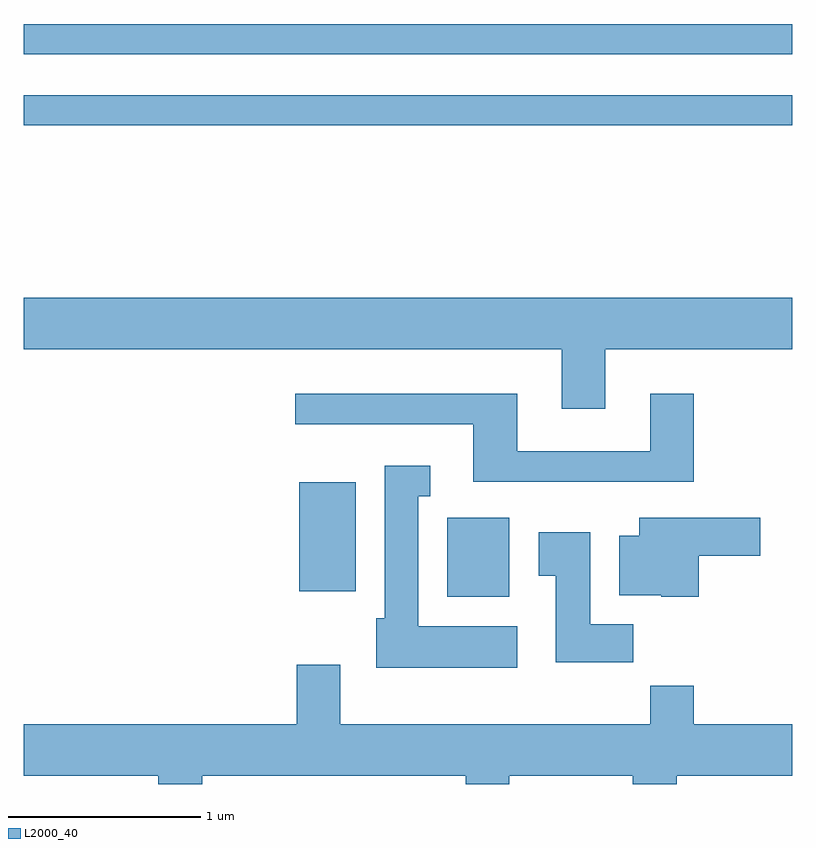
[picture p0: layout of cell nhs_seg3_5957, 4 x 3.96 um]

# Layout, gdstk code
import gdstk
lib = gdstk.Library(unit=1e-6, precision=1e-09)
def R(c, l, rs):  # rectangles x0, y0, x1, y1
    for r in rs: c.add(gdstk.rectangle(r[:2], r[2:], *l))
def P(c, l, *ps):  # polygons
    for p in ps: c.add(gdstk.Polygon(p, *l))
L2000_40 = (2000, 40)

nhs_seg3_5957 = lib.new_cell('nhs_seg3_5957')
R(nhs_seg3_5957, L2000_40, [(361.816,1206.866,362.139,1207.279), (361.046,1206.896,361.339,1207.464), (359.611,1209.321,363.611,1209.479), (359.611,1209.691,363.611,1209.849)])
P(nhs_seg3_5957, L2000_40, [(362.639,1208.156),(363.611,1208.156),(363.611,1208.424),(359.611,1208.424),(359.611,1208.156),(362.411,1208.156),(362.411,1207.846),(362.639,1207.846)],
  [(363.099,1207.924),(362.871,1207.924),(362.871,1207.624),(362.179,1207.624),(362.179,1207.924),(361.023,1207.924),(361.023,1207.766),(361.951,1207.766),(361.951,1207.466),(363.099,1207.466)],
  [(362.179,1206.714),(361.664,1206.714),(361.664,1207.391),(361.728,1207.391),(361.728,1207.549),(361.491,1207.549),(361.491,1206.754),(361.446,1206.754),(361.446,1206.496),(362.179,1206.496)],
  [(363.124,1207.081),(363.444,1207.081),(363.444,1207.279),(362.816,1207.279),(362.816,1207.184),(362.711,1207.184),(362.711,1206.876),(362.93,1206.876),(362.93,1206.866),(363.124,1206.866)],
  [(362.784,1206.724),(362.559,1206.724),(362.559,1207.204),(362.291,1207.204),(362.291,1206.976),(362.381,1206.976),(362.381,1206.526),(362.784,1206.526)],
  [(360.539,1205.936),(361.911,1205.936),(361.911,1205.892),(362.139,1205.892),(362.139,1205.936),(362.781,1205.936),(362.781,1205.892),(363.009,1205.892),(363.009,1205.936),(363.611,1205.936),(363.611,1206.204),(363.099,1206.204),(363.099,1206.404),(362.871,1206.404),(362.871,1206.204),(361.259,1206.204),(361.259,1206.514),(361.031,1206.514),(361.031,1206.204),(359.611,1206.204),(359.611,1205.936),(360.311,1205.936),(360.311,1205.892),(360.539,1205.892)])

lib.write_gds('nhs_seg3_5957.gds')
